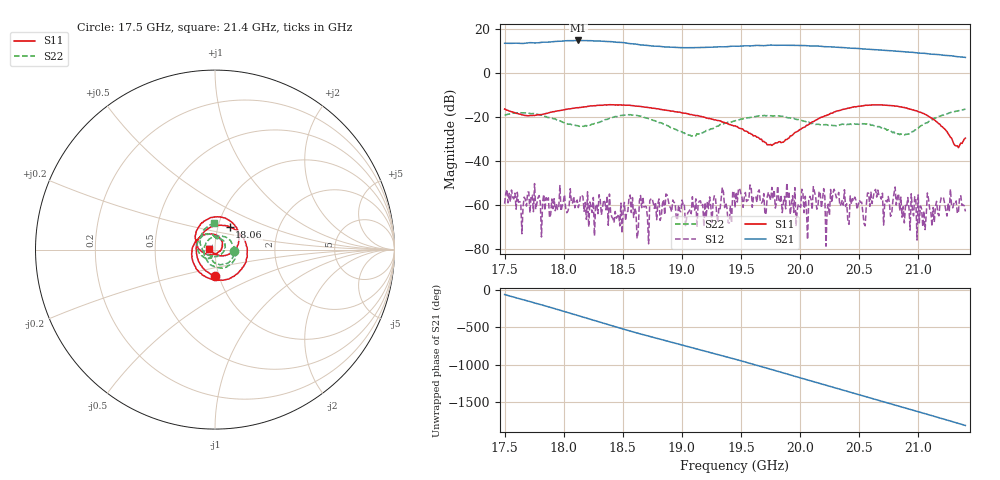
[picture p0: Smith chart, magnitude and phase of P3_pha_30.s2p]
!Created with skrf (http://scikit-rf.org).
# GHz S RI R 50.0
!freq ReS11 ImS11 ReS21 ImS21 ReS12 ImS12 ReS22 ImS22
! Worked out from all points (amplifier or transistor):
!   401 points, 17.5 GHz to 21.4 GHz, reference 50 ohm
!   highest |S21| = 14.6 dB at 18.12 GHz (marker M1)
!   |S21| within 3 dB of that: start of sweep to 18.88 GHz (the widest 1 of 2)
!   unconditionally stable (mu >= 1): start of sweep to end of sweep
!   at 18.14 GHz: K = 55.64, MAG = 14.7 dB, |S12| = -55.7 dB
!   at 19.45 GHz: K = 147.57, MAG = 12.0 dB, |S12| = -61.5 dB
!   at 21.4 GHz: K = 317.56, MAG = 7.0 dB, |S12| = -63.1 dB
!   S11 on the Smith chart (normalised r, x): 17.5 GHz: 0.95, -0.29; 18.06 GHz: 1.14, +0.29; 21.4 GHz: 0.94, +0.01
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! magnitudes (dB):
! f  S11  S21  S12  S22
! 17.5 GHz  -16.6  13.3  -59.6  -19.4
! 18.06 GHz  -16.5  14.5  -52.8  -23.4
! 18.12 GHz  -16.0  14.6  -61.4  -24.3
! 18.15 GHz  -15.8  14.5  -55.8  -24.2
! 18.48 GHz  -14.7  13.7  -69.7  -19.7
! 18.56 GHz  -14.9  13.1  -55.7  -19.1
! 18.61 GHz  -15.3  12.9  -63.3  -19.5
! 18.66 GHz  -15.5  12.5  -61.4  -20.0
! 18.81 GHz  -16.6  11.9  -57.4  -22.8
! 19.35 GHz  -22.6  11.7  -54.4  -23.3
! 19.4 GHz  -23.6  11.9  -68.5  -22.5
! 19.45 GHz  -24.2  12.0  -61.5  -22.0
! 19.74 GHz  -32.9  12.4  -56.5  -19.5
! 20.05 GHz  -24.0  12.2  -62.3  -22.5
! 20.1 GHz  -22.4  12.1  -62.3  -23.0
! 20.23 GHz  -19.3  11.7  -62.2  -23.8
! 20.28 GHz  -18.3  11.6  -54.9  -24.1
! 20.41 GHz  -16.2  11.2  -67.9  -23.5
! 20.54 GHz  -15.0  10.7  -68.7  -23.3
! 20.65 GHz  -14.7  10.3  -56.6  -24.5
! 20.76 GHz  -14.9  10.0  -59.0  -26.3
! 21.4 GHz  -29.8  6.9  -63.1  -16.7
